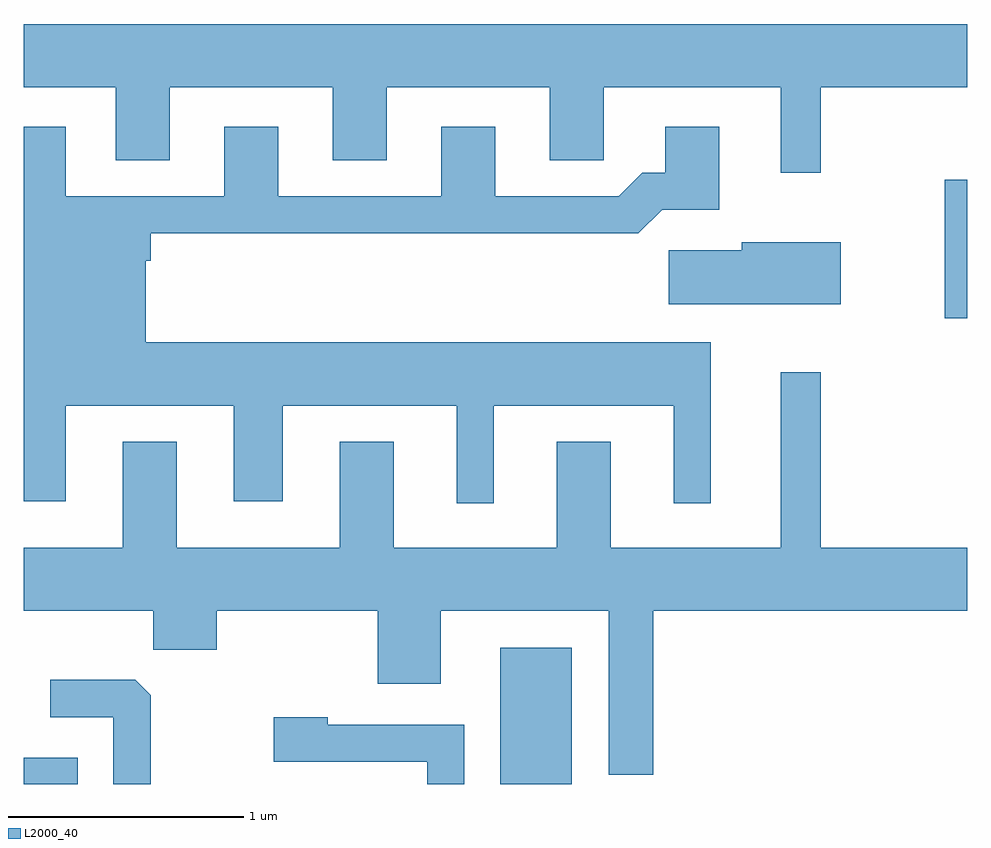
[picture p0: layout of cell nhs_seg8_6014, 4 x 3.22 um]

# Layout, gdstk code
import gdstk
lib = gdstk.Library(unit=1e-6, precision=1e-09)
def R(c, l, rs):  # rectangles x0, y0, x1, y1
    for r in rs: c.add(gdstk.rectangle(r[:2], r[2:], *l))
def P(c, l, *ps):  # polygons
    for p in ps: c.add(gdstk.Polygon(p, *l))
L2000_40 = (2000, 40)

nhs_seg8_6014 = lib.new_cell('nhs_seg8_6014')
R(nhs_seg8_6014, L2000_40, [(365.611,1842.342,365.839,1842.454), (367.631,1842.342,367.934,1842.919), (369.516,1844.316,369.611,1844.904)])
P(nhs_seg8_6014, L2000_40, [(368.989,1845.296),(369.611,1845.296),(369.611,1845.564),(365.611,1845.564),(365.611,1845.296),(366.001,1845.296),(366.001,1844.986),(366.229,1844.986),(366.229,1845.296),(366.921,1845.296),(366.921,1844.986),(367.149,1844.986),(367.149,1845.296),(367.841,1845.296),(367.841,1844.986),(368.069,1844.986),(368.069,1845.296),(368.821,1845.296),(368.821,1844.933),(368.989,1844.933)],
  [(367.604,1843.946),(368.366,1843.946),(368.366,1843.533),(368.524,1843.533),(368.524,1844.214),(366.129,1844.214),(366.129,1844.561),(366.149,1844.561),(366.149,1844.676),(368.217,1844.676),(368.317,1844.776),(368.559,1844.776),(368.559,1845.129),(368.331,1845.129),(368.331,1844.934),(368.234,1844.934),(368.134,1844.834),(367.609,1844.834),(367.609,1845.129),(367.381,1845.129),(367.381,1844.834),(366.689,1844.834),(366.689,1845.129),(366.461,1845.129),(366.461,1844.834),(365.789,1844.834),(365.789,1845.129),(365.611,1845.129),(365.611,1843.541),(365.789,1843.541),(365.789,1843.946),(366.501,1843.946),(366.501,1843.541),(366.709,1843.541),(366.709,1843.946),(367.446,1843.946),(367.446,1843.533),(367.604,1843.533)],
  [(369.074,1844.639),(368.656,1844.639),(368.656,1844.604),(368.346,1844.604),(368.346,1844.376),(369.074,1844.376)],
  [(369.611,1843.344),(368.989,1843.344),(368.989,1844.088),(368.821,1844.088),(368.821,1843.344),(368.099,1843.344),(368.099,1843.794),(367.871,1843.794),(367.871,1843.344),(367.179,1843.344),(367.179,1843.794),(366.951,1843.794),(366.951,1843.344),(366.259,1843.344),(366.259,1843.794),(366.031,1843.794),(366.031,1843.344),(365.611,1843.344),(365.611,1843.076),(366.161,1843.076),(366.161,1842.911),(366.429,1842.911),(366.429,1843.076),(367.111,1843.076),(367.111,1842.766),(367.379,1842.766),(367.379,1843.076),(368.091,1843.076),(368.091,1842.381),(368.279,1842.381),(368.279,1843.076),(369.611,1843.076)],
  [(366.149,1842.719),(366.084,1842.784),(365.723,1842.784),(365.723,1842.626),(365.991,1842.626),(365.991,1842.342),(366.149,1842.342)],
  [(367.479,1842.594),(366.899,1842.594),(366.899,1842.624),(366.671,1842.624),(366.671,1842.436),(367.321,1842.436),(367.321,1842.342),(367.479,1842.342)])

lib.write_gds('nhs_seg8_6014.gds')
